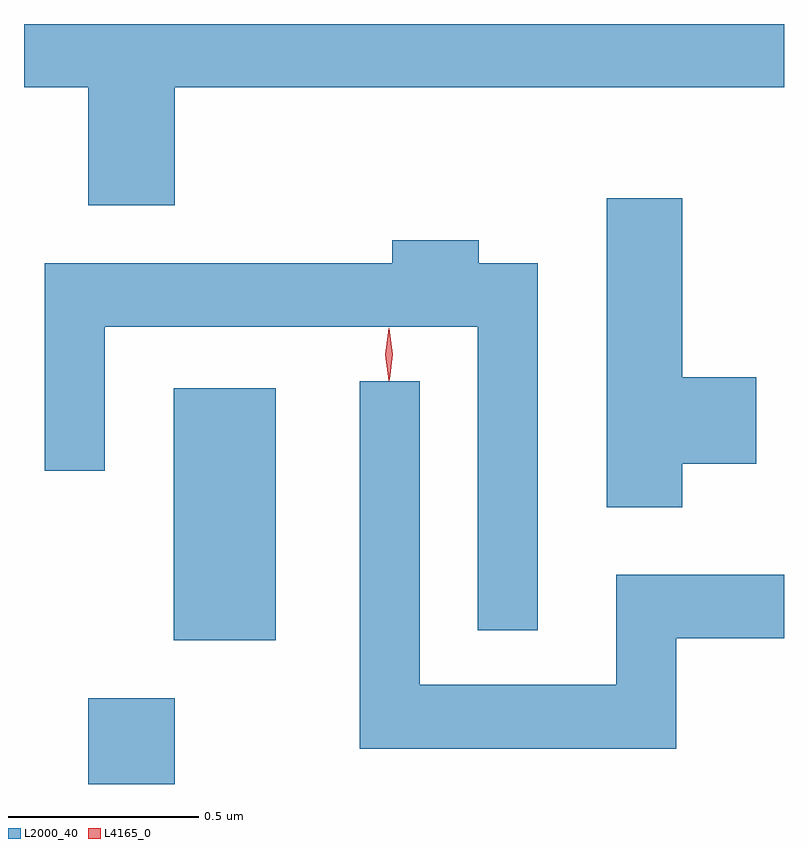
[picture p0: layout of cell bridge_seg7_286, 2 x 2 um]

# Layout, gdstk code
import gdstk
lib = gdstk.Library(unit=1e-6, precision=1e-09)
def R(c, l, rs):  # rectangles x0, y0, x1, y1
    for r in rs: c.add(gdstk.rectangle(r[:2], r[2:], *l))
def P(c, l, *ps):  # polygons
    for p in ps: c.add(gdstk.Polygon(p, *l))
L2000_40 = (2000, 40)
L4165_0 = (4165, 0)

bridge_seg7_286 = lib.new_cell('bridge_seg7_286')
R(bridge_seg7_286, L2000_40, [(1256.961,1803.503,1257.189,1803.729), (1257.186,1803.881,1257.454,1804.544)])
P(bridge_seg7_286, L2000_40, [(1257.189,1805.336),(1258.792,1805.336),(1258.792,1805.503),(1256.792,1805.503),(1256.792,1805.336),(1256.961,1805.336),(1256.961,1805.026),(1257.189,1805.026)],
  [(1258.524,1804.346),(1258.719,1804.346),(1258.719,1804.574),(1258.524,1804.574),(1258.524,1805.044),(1258.326,1805.044),(1258.326,1804.231),(1258.524,1804.231)],
  [(1258.144,1804.874),(1257.989,1804.874),(1257.989,1804.934),(1257.761,1804.934),(1257.761,1804.874),(1256.846,1804.874),(1256.846,1804.328),(1257.004,1804.328),(1257.004,1804.706),(1257.986,1804.706),(1257.986,1803.908),(1258.144,1803.908)],
  [(1258.509,1803.886),(1258.792,1803.886),(1258.792,1804.054),(1258.351,1804.054),(1258.351,1803.764),(1257.834,1803.764),(1257.834,1804.563),(1257.676,1804.563),(1257.676,1803.596),(1258.509,1803.596)])
P(bridge_seg7_286, L4165_0, [(1257.753,1804.563),(1257.752,1804.564),(1257.743,1804.633),(1257.752,1804.702),(1257.753,1804.703),(1257.753,1804.702),(1257.763,1804.633),(1257.753,1804.564)],
  [(1257.753,1804.567),(1257.752,1804.568),(1257.743,1804.634),(1257.752,1804.7),(1257.753,1804.7),(1257.753,1804.7),(1257.763,1804.634),(1257.754,1804.568)])

lib.write_gds('bridge_seg7_286.gds')
